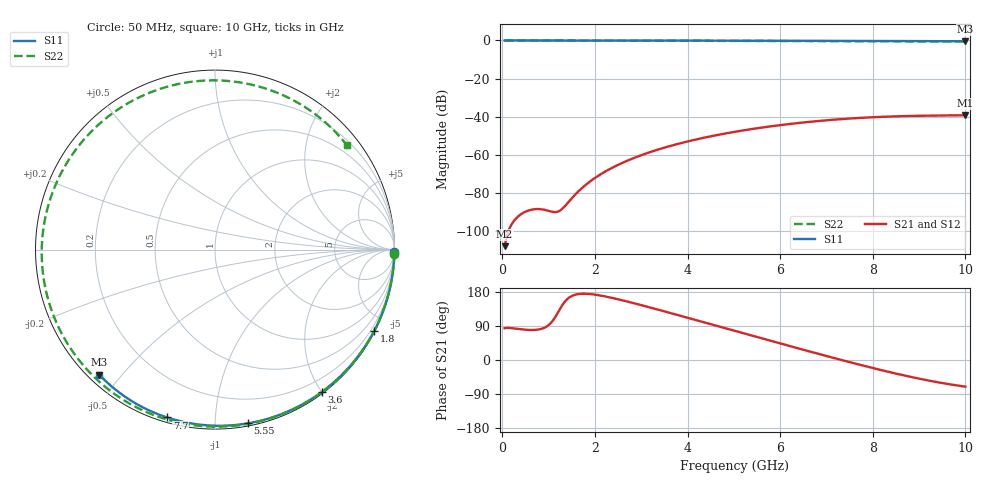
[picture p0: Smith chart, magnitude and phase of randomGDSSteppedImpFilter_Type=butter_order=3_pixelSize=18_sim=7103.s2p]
! freq	dB(S11)	phase(S11)	dB(S12)	phase(S12)
!  dB(S21)	phase(S21)	dB(S22)	phase(S22)
!S-par simulation data
#  GHz  S  DB  R 50
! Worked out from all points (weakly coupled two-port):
!   200 points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, 50 MHz to 10 GHz, reference 50 ohm
!   highest |S21| = -39.29 dB at 10 GHz (marker M1); lowest = -108.0 dB at 50 MHz (marker M2)
!   lowest |S11| = -0.5 dB at 10 GHz (marker M3), VSWR 38.48, Z = 1.55 - j21.8 ohm
!   |S11| at or under -10 dB: nowhere
!   |S22| runs from -0.6 to 0.0 dB; largest |S21 - S12| = 0
!   S11 on the Smith chart (normalised r, x): 50 MHz: open; 1.8 GHz: 0.04, -4.14; 3.6 GHz: 0.02, -2.00; 5.55 GHz: 0.02, -1.21; 7.7 GHz: 0.02, -0.75; 10 GHz: 0.03, -0.44
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0.05  -0.01 -0.8  -108.02 84.0  -108.02 84.0  -0.00 -1.5
0.8  -0.01 -12.2  -88.55 80.8  -88.55 80.8  -0.03 -25.0
1.6  -0.03 -24.2  -80.30 173.1  -80.30 173.1  -0.06 -49.5
1.75  -0.03 -26.4  -76.87 174.9  -76.87 174.9  -0.07 -54.0
1.8  -0.03 -27.2  -75.85 174.9  -75.85 174.9  -0.07 -55.5
2.1  -0.04 -31.6  -70.62 170.6  -70.62 170.6  -0.08 -64.4
2.45  -0.05 -36.7  -65.91 161.7  -65.91 161.7  -0.09 -74.7
2.9  -0.06 -43.2  -61.16 148.0  -61.16 148.0  -0.11 -87.7
3.4  -0.07 -50.3  -57.01 131.7  -57.01 131.7  -0.13 -102.0
3.6  -0.07 -53.1  -55.58 125.0  -55.58 125.0  -0.14 -107.7
4.3  -0.09 -62.7  -51.36 101.3  -51.36 101.3  -0.18 -127.4
5.05  -0.11 -72.8  -47.84 75.8  -47.84 75.8  -0.23 -148.8
5.55  -0.13 -79.3  -45.93 58.9  -45.93 58.9  -0.26 -163.3
6.15  -0.15 -87.0  -44.01 38.7  -44.01 38.7  -0.31 178.6
6.7  -0.18 -93.8  -42.58 20.4  -42.58 20.4  -0.36 161.2
7.2  -0.21 -99.9  -41.52 4.0  -41.52 4.0  -0.40 144.6
7.7  -0.24 -105.9  -40.70 -11.9  -40.70 -11.9  -0.44 127.1
8.35  -0.29 -113.6  -39.96 -31.6  -39.96 -31.6  -0.49 103.0
8.75  -0.32 -118.3  -39.68 -42.7  -39.68 -42.7  -0.51 87.5
9.15  -0.36 -122.9  -39.50 -52.9  -39.50 -52.9  -0.53 71.8
9.55  -0.40 -127.6  -39.39 -61.9  -39.39 -61.9  -0.55 55.9
10  -0.45 -132.8  -39.29 -70.2  -39.29 -70.2  -0.56 38.3
